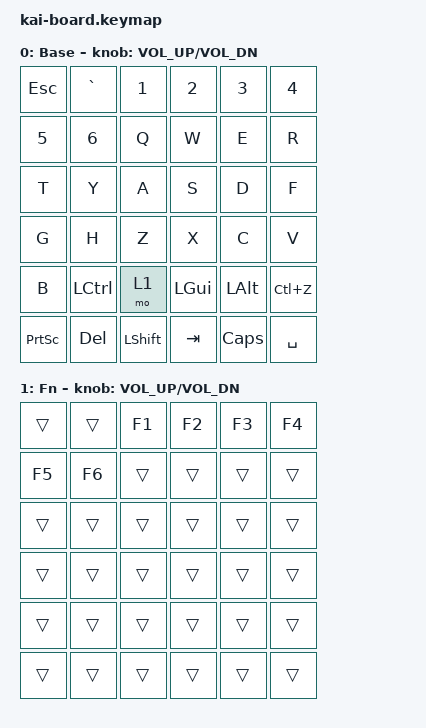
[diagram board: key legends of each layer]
#include <behaviors.dtsi>
#include <dt-bindings/zmk/keys.h>

/ {
    keymap {
        compatible = "zmk,keymap";

        base_layer {
            display-name = "Base";

            bindings = <
                &kp ESC       &kp GRAVE     &kp N1        &kp N2        &kp N3        &kp N4
                &kp N5        &kp N6        &kp Q         &kp W         &kp E         &kp R
                &kp T         &kp Y         &kp A         &kp S         &kp D         &kp F
                &kp G         &kp H         &kp Z         &kp X         &kp C         &kp V
                &kp B         &kp LCTRL     &mo 1         &kp LGUI      &kp LALT      &kp LC(Z)
                &kp PRINTSCREEN &kp DEL     &kp LSHIFT    &kp TAB        &kp CAPSLOCK   &kp SPACE
            >;

            sensor-bindings = <&inc_dec_kp C_VOL_UP C_VOL_DN>;
        };

        fn_layer {
            display-name = "Fn";

            bindings = <
                &trans       &trans       &kp F1       &kp F2       &kp F3       &kp F4
                &kp F5       &kp F6       &trans      &trans      &trans      &trans
                &trans       &trans       &trans      &trans      &trans      &trans
                &trans       &trans       &trans      &trans      &trans      &trans
                &trans       &trans       &trans      &trans      &trans      &trans
                &trans       &trans       &trans      &trans      &trans      &trans
            >;

            sensor-bindings = <&inc_dec_kp C_VOL_UP C_VOL_DN>;
        };
    };
};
